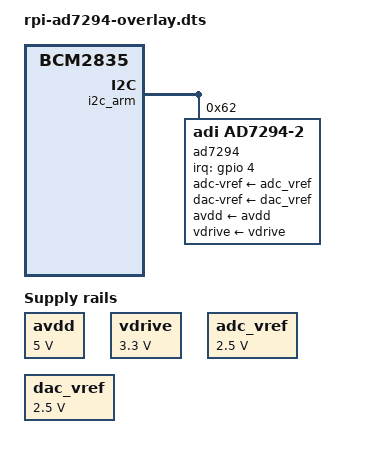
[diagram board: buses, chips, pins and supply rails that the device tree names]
// SPDX-License-Identifier: GPL-2.0
/dts-v1/;
/plugin/;

#include <dt-bindings/gpio/gpio.h>
#include <dt-bindings/interrupt-controller/irq.h>

/ {
	compatible = "brcm,bcm2835";

	fragment@0 {
		target-path = "/";
		__overlay__ {
			avdd: fixedregulator@0 {
				compatible = "regulator-fixed";
				regulator-name = "avdd";
				regulator-min-microvolt = <5000000>;
				regulator-max-microvolt = <5000000>;
				regulator-boot-on;
			};
			vdrive: fixedregulator@1 {
				compatible = "regulator-fixed";
				regulator-name = "vdrive";
				regulator-min-microvolt = <3300000>;
				regulator-max-microvolt = <3300000>;
				regulator-boot-on;
			};
			adc_vref: fixedregulator@2 {
				compatible = "regulator-fixed";
				regulator-name = "adc-vref";
				regulator-min-microvolt = <2500000>;
				regulator-max-microvolt = <2500000>;
				regulator-boot-on;
			};
			dac_vref: fixedregulator@3 {
				compatible = "regulator-fixed";
				regulator-name = "dac-vref";
				regulator-min-microvolt = <2500000>;
				regulator-max-microvolt = <2500000>;
				regulator-boot-on;
			};
		};
	};

	fragment@1 {
		target = <&i2c_arm>;
		__overlay__ {
			#address-cells = <1>;
			#size-cells = <0>;
			status = "okay";
			ad7294: ad7294@62 {
				compatible = "adi,ad7294-2";
				reg = <0x62>;
				interrupts = <4 IRQ_TYPE_EDGE_FALLING>;
				interrupt-parent = <&gpio>;
				shunt-resistor-ohms = <1000 1000>;
				adc-vref-supply = <&adc_vref>;
				dac-vref-supply = <&dac_vref>;
				avdd-supply = <&avdd>;
				vdrive-supply = <&vdrive>;
			};
		};
	};
};
